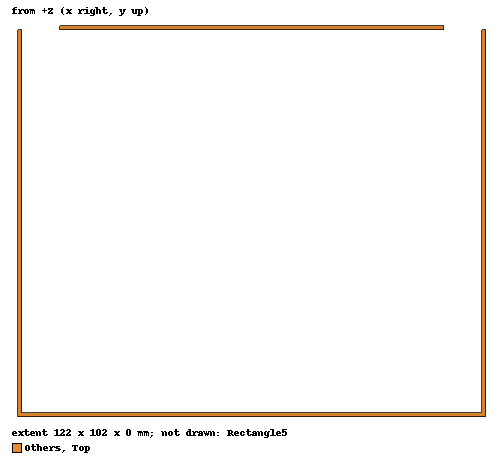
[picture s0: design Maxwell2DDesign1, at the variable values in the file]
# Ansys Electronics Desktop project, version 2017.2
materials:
  vacuum: permittivity=1
  copper: permeability=0.999991 conductivity=58000000
  air: permittivity=1.0006 permeability=1.0000004
  Teflon (tm): permittivity=2.1 dielectric_loss_tangent=0.001

design Maxwell2DDesign1 (Maxwell 2D, Electrostatic, XY geometry, model units mm)
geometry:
  Rectangle3 = rectangle(corner=(0mm, 0mm, 0mm), x_size=122mm, y_size=1mm)
  Rectangle4 = rectangle(corner=(122mm, 1mm, 0mm), x_size=-1mm, y_size=100mm)
  Others [copper] = rectangle(corner=(0mm, 1mm, 0mm), x_size=1mm, y_size=100mm)
  Top [copper] = rectangle(corner=(11mm, 101mm, 0mm), x_size=100mm, y_size=1mm)
  Others.unite(Rectangle3, Rectangle4)
  Rectangle5 [air] = rectangle(corner=(-100mm, -100mm, 0mm), x_size=310mm, y_size=310mm)
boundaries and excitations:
  Balloon1: Balloon Edges=Rectangle5.edge(all 4) IsOfTypeVoltage=false
  Voltage1: Voltage Objects=Top Value=100V
  Voltage2: Voltage Objects=Others Value=0V
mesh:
  initial mesh: GlobalSurfApproximation{CurvedSurfaceApproxChoice=UseSlider SliderMeshSettings=9} MeshMethod=AnsoftClassic
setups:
  Setup1: Electrostatic MaximumPasses=10 MinimumPasses=2 MinimumConvergedPasses=1 PercentRefinement=30 PercentError=0.1 NonLinearResidual=0.001
